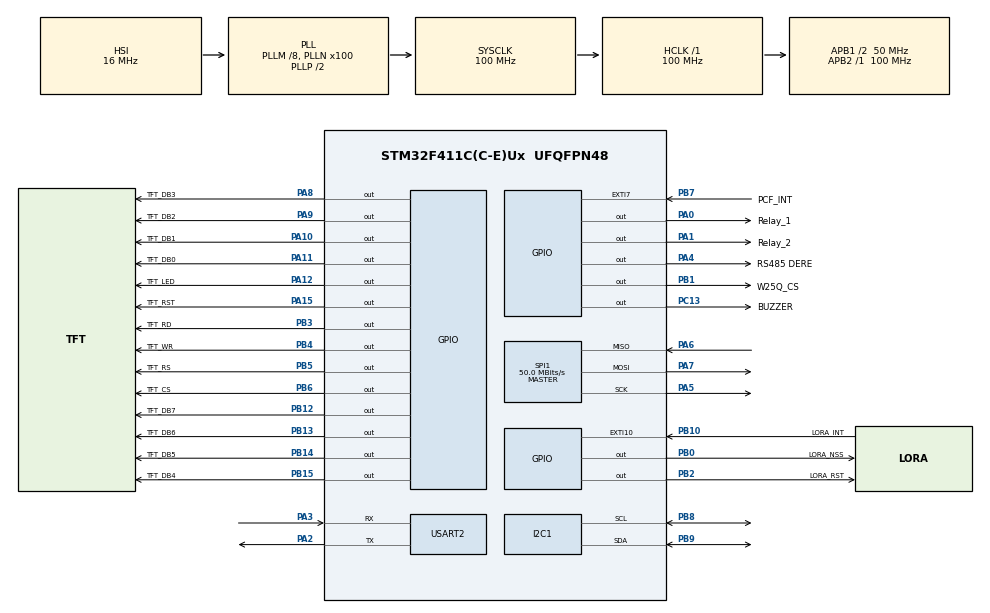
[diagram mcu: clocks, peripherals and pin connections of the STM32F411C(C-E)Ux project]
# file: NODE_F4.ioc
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FREERTOS.BinarySemaphores01=Ngat_Nhan_Tu_BP,Dynamic,NULL
FREERTOS.Tasks01=XuLy_Ban_Phim,2,128,Start_XuLy_Ban_Phim,Default,NULL,Dynamic,NULL,NULL;XuLy_Lora,2,128,Start_XuLy_Lora,Default,NULL,Dynamic,NULL,NULL;XuLy_Cap_Nhat,0,128,Start_XuLy_UPD,Default,NULL,Dynamic,NULL,NULL;XuLy_MHC,-2,128,Start_XuLy_MHC,Default,NULL,Dynamic,NULL,NULL;XuLy_MHS,-2,128,Start_XuLy_MHS,Default,NULL,Dynamic,NULL,NULL;XuLy_MHL,-2,128,Start_XuLy_MHL,Default,NULL,Dynamic,NULL,NULL
FREERTOS.configUSE_NEWLIB_REENTRANT=1
I2C1.DualAddressMode=I2C_DUALADDRESS_DISABLE
I2C1.GeneralCallMode=I2C_GENERALCALL_DISABLE
Mcu.Family=STM32F4
Mcu.Name=STM32F411C(C-E)Ux
Mcu.Package=UFQFPN48
NVIC.EXTI15_10_IRQn=true\:5\:0\:true\:false\:true\:true\:true\:true\:true
NVIC.EXTI9_5_IRQn=true\:5\:0\:true\:false\:true\:true\:true\:true\:true
NVIC.PriorityGroup=NVIC_PRIORITYGROUP_4
NVIC.TIM2_IRQn=true\:15\:0\:false\:false\:true\:false\:false\:true\:true
NVIC.TimeBase=TIM2_IRQn
NVIC.TimeBaseIP=TIM2
PA0-WKUP.GPIO_Label=Relay_1
PA0-WKUP.Signal=GPIO_Output
PA1.GPIO_Label=Relay_2
PA1.Signal=GPIO_Output
PA10.GPIO_Label=TFT_DB1
PA10.GPIO_Speed=GPIO_SPEED_FREQ_VERY_HIGH
PA10.Signal=GPIO_Output
PA11.GPIO_Label=TFT_DB0
PA11.GPIO_Speed=GPIO_SPEED_FREQ_VERY_HIGH
PA11.Signal=GPIO_Output
PA12.GPIO_Label=TFT_LED
PA12.GPIO_Speed=GPIO_SPEED_FREQ_VERY_HIGH
PA12.Signal=GPIO_Output
PA13.Mode=Serial_Wire
PA13.Signal=SYS_JTMS-SWDIO
PA14.Mode=Serial_Wire
PA14.Signal=SYS_JTCK-SWCLK
PA15.GPIO_Label=TFT_RST
PA15.GPIO_Speed=GPIO_SPEED_FREQ_VERY_HIGH
PA15.Signal=GPIO_Output
PA2.Mode=Asynchronous
PA2.Signal=USART2_TX
PA3.Mode=Asynchronous
PA3.Signal=USART2_RX
PA4.GPIO_Label=RS485 DERE
PA4.Signal=GPIO_Output
PA5.Mode=Full_Duplex_Master
PA5.Signal=SPI1_SCK
PA6.Mode=Full_Duplex_Master
PA6.Signal=SPI1_MISO
PA7.Mode=Full_Duplex_Master
PA7.Signal=SPI1_MOSI
PA8.GPIO_Label=TFT_DB3
PA8.GPIO_Speed=GPIO_SPEED_FREQ_VERY_HIGH
PA8.Signal=GPIO_Output
PA9.GPIO_Label=TFT_DB2
PA9.GPIO_Speed=GPIO_SPEED_FREQ_VERY_HIGH
PA9.Signal=GPIO_Output
PB0.GPIO_Label=LORA_NSS
PB0.Signal=GPIO_Output
PB1.GPIO_Label=W25Q_CS
PB1.Signal=GPIO_Output
PB10.GPIO_Label=LORA_INT
PB10.Signal=GPXTI10
PB12.GPIO_Label=TFT_DB7
PB12.GPIO_Speed=GPIO_SPEED_FREQ_VERY_HIGH
PB12.Signal=GPIO_Output
PB13.GPIO_Label=TFT_DB6
PB13.GPIO_Speed=GPIO_SPEED_FREQ_VERY_HIGH
PB13.Signal=GPIO_Output
PB14.GPIO_Label=TFT_DB5
PB14.GPIO_Speed=GPIO_SPEED_FREQ_VERY_HIGH
PB14.Signal=GPIO_Output
PB15.GPIO_Label=TFT_DB4
PB15.GPIO_Speed=GPIO_SPEED_FREQ_VERY_HIGH
PB15.Signal=GPIO_Output
PB2.GPIO_Label=LORA_RST
PB2.Signal=GPIO_Output
PB3.GPIO_Label=TFT_RD
PB3.GPIO_Speed=GPIO_SPEED_FREQ_VERY_HIGH
PB3.Signal=GPIO_Output
PB4.GPIO_Label=TFT_WR
PB4.GPIO_Speed=GPIO_SPEED_FREQ_VERY_HIGH
PB4.Signal=GPIO_Output
PB5.GPIO_Label=TFT_RS
PB5.GPIO_Speed=GPIO_SPEED_FREQ_VERY_HIGH
PB5.Signal=GPIO_Output
PB6.GPIO_Label=TFT_CS
PB6.GPIO_Speed=GPIO_SPEED_FREQ_VERY_HIGH
PB6.Signal=GPIO_Output
PB7.GPIO_Label=PCF_INT
PB7.GPIO_ModeDefaultEXTI=GPIO_MODE_IT_FALLING
PB7.GPIO_PuPd=GPIO_PULLUP
PB7.Signal=GPXTI7
PB8.Mode=I2C
PB8.Signal=I2C1_SCL
PB9.Mode=I2C
PB9.Signal=I2C1_SDA
PC13-ANTI_TAMP.GPIO_Label=BUZZER
PC13-ANTI_TAMP.PinState=GPIO_PIN_RESET
PC13-ANTI_TAMP.Signal=GPIO_Output
PH0\ -\ OSC_IN.Mode=HSE-External-Oscillator
PH0\ -\ OSC_IN.Signal=RCC_OSC_IN
PH1\ -\ OSC_OUT.Mode=HSE-External-Oscillator
PH1\ -\ OSC_OUT.Signal=RCC_OSC_OUT
ProjectManager.HeapSize=0x200
ProjectManager.StackSize=0x400
ProjectManager.TargetToolchain=STM32CubeIDE
RCC.48MHZClocksFreq_Value=40000000
RCC.AHBFreq_Value=100000000
RCC.APB1CLKDivider=RCC_HCLK_DIV2
RCC.APB1Freq_Value=50000000
RCC.APB1TimFreq_Value=100000000
RCC.APB2Freq_Value=100000000
RCC.APB2TimFreq_Value=100000000
RCC.CortexFreq_Value=100000000
RCC.HCLKFreq_Value=100000000
RCC.HSE_VALUE=25000000
RCC.HSI_VALUE=16000000
RCC.LSE_VALUE=32768
RCC.PLLM=8
RCC.PLLN=100
RCC.PLLQ=5
RCC.SYSCLKFreq_VALUE=100000000
RCC.SYSCLKSource=RCC_SYSCLKSOURCE_PLLCLK
RCC.VCOOutputFreq_Value=200000000
SPI1.CalculateBaudRate=50.0 MBits/s
SPI1.Direction=SPI_DIRECTION_2LINES
SPI1.Mode=SPI_MODE_MASTER
SPI1.VirtualType=VM_MASTER
TIM1.Prescaler=99
USART2.VirtualMode=VM_ASYNC
VP_FREERTOS_VS_CMSIS_V1.Mode=CMSIS_V1
VP_SYS_VS_tim2.Mode=TIM2
VP_TIM1_VS_ClockSourceINT.Mode=Internal
board=custom

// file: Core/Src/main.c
/* USER CODE BEGIN Header */
/**
  ******************************************************************************
  * @file           : main.c
  * @brief          : Main program body
  ******************************************************************************
  * @attention
  *
  * Copyright (c) 2023 STMicroelectronics.
  * All rights reserved.
  *
  * This software is licensed under terms that can be found in the LICENSE file
  * in the root directory of this software component.
  * If no LICENSE file comes with this software, it is provided AS-IS.
  *
  ******************************************************************************
  */
/* USER CODE END Header */
#include "main.h"
#include "cmsis_os.h"

/* USER CODE BEGIN Includes */
#include "TFT.h"
#include "DS3231.h"
#include "../../lvgl/lvgl.h"
#include "../../lvgl/examples/lv_examples.h"
#include "lcd_lvgl.h"
/* USER CODE END Includes */

I2C_HandleTypeDef hi2c1;

SPI_HandleTypeDef hspi1;

TIM_HandleTypeDef htim1;

UART_HandleTypeDef huart2;

osThreadId XuLy_Ban_PhimHandle;
osThreadId XuLy_LoraHandle;
osThreadId XuLy_Cap_NhatHandle;
osThreadId XuLy_MHCHandle;
osThreadId XuLy_MHSHandle;
osThreadId XuLy_MHLHandle;
osSemaphoreId Ngat_Nhan_Tu_BPHandle;

void SystemClock_Config(void);
static void MX_GPIO_Init(void);
static void MX_I2C1_Init(void);
static void MX_SPI1_Init(void);
static void MX_USART2_UART_Init(void);
static void MX_TIM1_Init(void);
void Start_XuLy_Ban_Phim(void const * argument);
void Start_XuLy_Lora(void const * argument);
void Start_XuLy_UPD(void const * argument);
void Start_XuLy_MHC(void const * argument);
void Start_XuLy_MHS(void const * argument);
void Start_XuLy_MHL(void const * argument);

/* USER CODE BEGIN 0 */
void delay_us (uint32_t time)
{
	__HAL_TIM_SET_COUNTER(&htim1, 0);
	while ((__HAL_TIM_GET_COUNTER(&htim1))<time);
}
void delay_ms(uint32_t time)
{
	for(int i = 0;i<1000;i++)
		delay_us(time);
}
void HAL_GPIO_EXTI_Callback(uint16_t GPIO_Pin)
{
	if(GPIO_Pin == PCF_INT_Pin)
	{
		delay_us(10);
		if(HAL_GPIO_ReadPin(PCF_INT_GPIO_Port, PCF_INT_Pin) == 0)
		{
			osSemaphoreRelease(Ngat_Nhan_Tu_BPHandle);
		}
		delay_us(10);
	}
}
rtc_t time = {
		  .DayOfWeek = THURSDAY,
		  .Date 	 = 23,
		  .Month	 = 3,
		  .Hour		 = 17,
		  .Min	 	 = 10,
		  .Sec		 = 00,
		  .Year		 = 02,
		  .hi2c		 = &hi2c1
};
uint16_t ID = 0;
volatile uint8_t _lastkey;
bool _keypressed = false;
volatile bool _man_hinh_chinh 	= false;
volatile bool _man_hinh_setting	= false;
volatile bool _man_hinh_login	= false;
/* USER CODE END 0 */

int main(void)
{

  /* MCU Configuration--------------------------------------------------------*/

  /* Reset of all peripherals, Initializes the Flash interface and the Systick. */
  HAL_Init();

  /* Configure the system clock */
  SystemClock_Config();

  /* Initialize all configured peripherals */
  MX_GPIO_Init();
  MX_I2C1_Init();
  MX_SPI1_Init();
  MX_USART2_UART_Init();
  MX_TIM1_Init();
  /* USER CODE BEGIN 2 */
  HAL_GPIO_WritePin(TFT_LED_GPIO_Port, TFT_LED_Pin, 1);
  HAL_TIM_Base_Start(&htim1);
  lv_init();
  Display_init(3);
  HAL_Delay(500);
  lv_example_anim_2();
//  ID = readID();
//  HAL_Delay(100);
//  ds3231_setTime(&time);
//  tft_init(ID);
//  setRotation(3);
//  testFillScreen();
//  testLines(CYAN);
//  testFastLines(RED, BLUE);
//  testFilledCircles(10, MAGENTA);
//  testCircles(10, WHITE);
//  fillScreen(BLACK);
  _man_hinh_chinh = true; // Bật màn hình chính lúc đầu
  /* USER CODE END 2 */

  /* Create the semaphores(s) */
  /* definition and creation of Ngat_Nhan_Tu_BP */
  osSemaphoreDef(Ngat_Nhan_Tu_BP);
  Ngat_Nhan_Tu_BPHandle = osSemaphoreCreate(osSemaphore(Ngat_Nhan_Tu_BP), 1);

  /* Create the thread(s) */
  /* definition and creation of XuLy_Ban_Phim */
  osThreadDef(XuLy_Ban_Phim, Start_XuLy_Ban_Phim, osPriorityHigh, 0, 128);
  XuLy_Ban_PhimHandle = osThreadCreate(osThread(XuLy_Ban_Phim), NULL);

  /* definition and creation of XuLy_Lora */
  osThreadDef(XuLy_Lora, Start_XuLy_Lora, osPriorityHigh, 0, 128);
  XuLy_LoraHandle = osThreadCreate(osThread(XuLy_Lora), NULL);

  /* definition and creation of XuLy_Cap_Nhat */
  osThreadDef(XuLy_Cap_Nhat, Start_XuLy_UPD, osPriorityNormal, 0, 128);
  XuLy_Cap_NhatHandle = osThreadCreate(osThread(XuLy_Cap_Nhat), NULL);

  /* definition and creation of XuLy_MHC */
  osThreadDef(XuLy_MHC, Start_XuLy_MHC, osPriorityLow, 0, 128);
  XuLy_MHCHandle = osThreadCreate(osThread(XuLy_MHC), NULL);

  /* definition and creation of XuLy_MHS */
  osThreadDef(XuLy_MHS, Start_XuLy_MHS, osPriorityLow, 0, 128);
  XuLy_MHSHandle = osThreadCreate(osThread(XuLy_MHS), NULL);

  /* definition and creation of XuLy_MHL */
  osThreadDef(XuLy_MHL, Start_XuLy_MHL, osPriorityLow, 0, 128);
  XuLy_MHLHandle = osThreadCreate(osThread(XuLy_MHL), NULL);

  /* Start scheduler */
  osKernelStart();

  /* We should never get here as control is now taken by the scheduler */
  /* Infinite loop */
  while (1)
  {

  }
}

void SystemClock_Config(void)
{
  RCC_OscInitTypeDef RCC_OscInitStruct = {0};
  RCC_ClkInitTypeDef RCC_ClkInitStruct = {0};

  /** Configure the main internal regulator output voltage
  */
  __HAL_RCC_PWR_CLK_ENABLE();
  __HAL_PWR_VOLTAGESCALING_CONFIG(PWR_REGULATOR_VOLTAGE_SCALE1);

  /** Initializes the RCC Oscillators according to the specified parameters
  * in the RCC_OscInitTypeDef structure.
  */
  RCC_OscInitStruct.OscillatorType = RCC_OSCILLATORTYPE_HSI;
  RCC_OscInitStruct.HSIState = RCC_HSI_ON;
  RCC_OscInitStruct.HSICalibrationValue = RCC_HSICALIBRATION_DEFAULT;
  RCC_OscInitStruct.PLL.PLLState = RCC_PLL_ON;
  RCC_OscInitStruct.PLL.PLLSource = RCC_PLLSOURCE_HSI;
  RCC_OscInitStruct.PLL.PLLM = 8;
  RCC_OscInitStruct.PLL.PLLN = 100;
  RCC_OscInitStruct.PLL.PLLP = RCC_PLLP_DIV2;
  RCC_OscInitStruct.PLL.PLLQ = 5;
  if (HAL_RCC_OscConfig(&RCC_OscInitStruct) != HAL_OK)
  {
    Error_Handler();
  }

  /** Initializes the CPU, AHB and APB buses clocks
  */
  RCC_ClkInitStruct.ClockType = RCC_CLOCKTYPE_HCLK|RCC_CLOCKTYPE_SYSCLK
                              |RCC_CLOCKTYPE_PCLK1|RCC_CLOCKTYPE_PCLK2;
  RCC_ClkInitStruct.SYSCLKSource = RCC_SYSCLKSOURCE_PLLCLK;
  RCC_ClkInitStruct.AHBCLKDivider = RCC_SYSCLK_DIV1;
  RCC_ClkInitStruct.APB1CLKDivider = RCC_HCLK_DIV2;
  RCC_ClkInitStruct.APB2CLKDivider = RCC_HCLK_DIV1;

  if (HAL_RCC_ClockConfig(&RCC_ClkInitStruct, FLASH_LATENCY_3) != HAL_OK)
  {
    Error_Handler();
  }
}

static void MX_I2C1_Init(void)
{

  hi2c1.Instance = I2C1;
  hi2c1.Init.ClockSpeed = 100000;
  hi2c1.Init.DutyCycle = I2C_DUTYCYCLE_2;
  hi2c1.Init.OwnAddress1 = 0;
  hi2c1.Init.AddressingMode = I2C_ADDRESSINGMODE_7BIT;
  hi2c1.Init.DualAddressMode = I2C_DUALADDRESS_DISABLE;
  hi2c1.Init.OwnAddress2 = 0;
  hi2c1.Init.GeneralCallMode = I2C_GENERALCALL_DISABLE;
  hi2c1.Init.NoStretchMode = I2C_NOSTRETCH_DISABLE;
  if (HAL_I2C_Init(&hi2c1) != HAL_OK)
  {
    Error_Handler();
  }

}

static void MX_SPI1_Init(void)
{

  /* SPI1 parameter configuration*/
  hspi1.Instance = SPI1;
  hspi1.Init.Mode = SPI_MODE_MASTER;
  hspi1.Init.Direction = SPI_DIRECTION_2LINES;
  hspi1.Init.DataSize = SPI_DATASIZE_8BIT;
  hspi1.Init.CLKPolarity = SPI_POLARITY_LOW;
  hspi1.Init.CLKPhase = SPI_PHASE_1EDGE;
  hspi1.Init.NSS = SPI_NSS_SOFT;
  hspi1.Init.BaudRatePrescaler = SPI_BAUDRATEPRESCALER_2;
  hspi1.Init.FirstBit = SPI_FIRSTBIT_MSB;
  hspi1.Init.TIMode = SPI_TIMODE_DISABLE;
  hspi1.Init.CRCCalculation = SPI_CRCCALCULATION_DISABLE;
  hspi1.Init.CRCPolynomial = 10;
  if (HAL_SPI_Init(&hspi1) != HAL_OK)
  {
    Error_Handler();
  }

}

static void MX_TIM1_Init(void)
{

  TIM_ClockConfigTypeDef sClockSourceConfig = {0};
  TIM_MasterConfigTypeDef sMasterConfig = {0};

  htim1.Instance = TIM1;
  htim1.Init.Prescaler = 99;
  htim1.Init.CounterMode = TIM_COUNTERMODE_UP;
  htim1.Init.Period = 65535;
  htim1.Init.ClockDivision = TIM_CLOCKDIVISION_DIV1;
  htim1.Init.RepetitionCounter = 0;
  htim1.Init.AutoReloadPreload = TIM_AUTORELOAD_PRELOAD_DISABLE;
  if (HAL_TIM_Base_Init(&htim1) != HAL_OK)
  {
    Error_Handler();
  }
  sClockSourceConfig.ClockSource = TIM_CLOCKSOURCE_INTERNAL;
  if (HAL_TIM_ConfigClockSource(&htim1, &sClockSourceConfig) != HAL_OK)
  {
    Error_Handler();
  }
  sMasterConfig.MasterOutputTrigger = TIM_TRGO_RESET;
  sMasterConfig.MasterSlaveMode = TIM_MASTERSLAVEMODE_DISABLE;
  if (HAL_TIMEx_MasterConfigSynchronization(&htim1, &sMasterConfig) != HAL_OK)
  {
    Error_Handler();
  }

}

static void MX_USART2_UART_Init(void)
{

  huart2.Instance = USART2;
  huart2.Init.BaudRate = 115200;
  huart2.Init.WordLength = UART_WORDLENGTH_8B;
  huart2.Init.StopBits = UART_STOPBITS_1;
  huart2.Init.Parity = UART_PARITY_NONE;
  huart2.Init.Mode = UART_MODE_TX_RX;
  huart2.Init.HwFlowCtl = UART_HWCONTROL_NONE;
  huart2.Init.OverSampling = UART_OVERSAMPLING_16;
  if (HAL_UART_Init(&huart2) != HAL_OK)
  {
    Error_Handler();
  }

}

static void MX_GPIO_Init(void)
{
  GPIO_InitTypeDef GPIO_InitStruct = {0};

  /* GPIO Ports Clock Enable */
  __HAL_RCC_GPIOC_CLK_ENABLE();
  __HAL_RCC_GPIOH_CLK_ENABLE();
  __HAL_RCC_GPIOA_CLK_ENABLE();
  __HAL_RCC_GPIOB_CLK_ENABLE();

  /*Configure GPIO pin Output Level */
  HAL_GPIO_WritePin(BUZZER_GPIO_Port, BUZZER_Pin, GPIO_PIN_RESET);

  /*Configure GPIO pin Output Level */
  HAL_GPIO_WritePin(GPIOA, Relay_1_Pin|Relay_2_Pin|RS485_DERE_Pin|TFT_DB3_Pin
                          |TFT_DB2_Pin|TFT_DB1_Pin|TFT_DB0_Pin|TFT_LED_Pin
                          |TFT_RST_Pin, GPIO_PIN_RESET);

  /*Configure GPIO pin Output Level */
  HAL_GPIO_WritePin(GPIOB, LORA_NSS_Pin|W25Q_CS_Pin|LORA_RST_Pin|TFT_DB7_Pin
                          |TFT_DB6_Pin|TFT_DB5_Pin|TFT_DB4_Pin|TFT_RD_Pin
                          |TFT_WR_Pin|TFT_RS_Pin|TFT_CS_Pin, GPIO_PIN_RESET);

  /*Configure GPIO pin : BUZZER_Pin */
  GPIO_InitStruct.Pin = BUZZER_Pin;
  GPIO_InitStruct.Mode = GPIO_MODE_OUTPUT_PP;
  GPIO_InitStruct.Pull = GPIO_NOPULL;
  GPIO_InitStruct.Speed = GPIO_SPEED_FREQ_LOW;
  HAL_GPIO_Init(BUZZER_GPIO_Port, &GPIO_InitStruct);

  /*Configure GPIO pins : Relay_1_Pin Relay_2_Pin RS485_DERE_Pin TFT_DB3_Pin
                           TFT_DB2_Pin TFT_DB1_Pin TFT_DB0_Pin TFT_LED_Pin
                           TFT_RST_Pin */
  GPIO_InitStruct.Pin = Relay_1_Pin|Relay_2_Pin|RS485_DERE_Pin|TFT_DB3_Pin
                          |TFT_DB2_Pin|TFT_DB1_Pin|TFT_DB0_Pin|TFT_LED_Pin
                          |TFT_RST_Pin;
  GPIO_InitStruct.Mode = GPIO_MODE_OUTPUT_PP;
  GPIO_InitStruct.Pull = GPIO_NOPULL;
  GPIO_InitStruct.Speed = GPIO_SPEED_FREQ_LOW;
  HAL_GPIO_Init(GPIOA, &GPIO_InitStruct);

  /*Configure GPIO pins : LORA_NSS_Pin W25Q_CS_Pin LORA_RST_Pin TFT_DB7_Pin
                           TFT_DB6_Pin TFT_DB5_Pin TFT_DB4_Pin TFT_RD_Pin
                           TFT_WR_Pin TFT_RS_Pin TFT_CS_Pin */
  GPIO_InitStruct.Pin = LORA_NSS_Pin|W25Q_CS_Pin|LORA_RST_Pin|TFT_DB7_Pin
                          |TFT_DB6_Pin|TFT_DB5_Pin|TFT_DB4_Pin|TFT_RD_Pin
                          |TFT_WR_Pin|TFT_RS_Pin|TFT_CS_Pin;
  GPIO_InitStruct.Mode = GPIO_MODE_OUTPUT_PP;
  GPIO_InitStruct.Pull = GPIO_NOPULL;
  GPIO_InitStruct.Speed = GPIO_SPEED_FREQ_LOW;
  HAL_GPIO_Init(GPIOB, &GPIO_InitStruct);

  /*Configure GPIO pin : LORA_INT_Pin */
  GPIO_InitStruct.Pin = LORA_INT_Pin;
  GPIO_InitStruct.Mode = GPIO_MODE_IT_RISING;
  GPIO_InitStruct.Pull = GPIO_NOPULL;
  HAL_GPIO_Init(LORA_INT_GPIO_Port, &GPIO_InitStruct);

  /*Configure GPIO pin : PCF_INT_Pin */
  GPIO_InitStruct.Pin = PCF_INT_Pin;
  GPIO_InitStruct.Mode = GPIO_MODE_IT_FALLING;
  GPIO_InitStruct.Pull = GPIO_PULLUP;
  HAL_GPIO_Init(PCF_INT_GPIO_Port, &GPIO_InitStruct);

  /* EXTI interrupt init*/
  HAL_NVIC_SetPriority(EXTI9_5_IRQn, 5, 0);
  HAL_NVIC_EnableIRQ(EXTI9_5_IRQn);

  HAL_NVIC_SetPriority(EXTI15_10_IRQn, 5, 0);
  HAL_NVIC_EnableIRQ(EXTI15_10_IRQn);

}

void Start_XuLy_Ban_Phim(void const * argument)
{
  /* USER CODE BEGIN 5 */
  /* Infinite loop */
  for(;;)
  {
	  osSemaphoreWait(Ngat_Nhan_Tu_BPHandle, osWaitForever);
	  _lastkey = getkey(&hi2c1);
	  if(_lastkey != 17)
	  {
		  if(_man_hinh_chinh == true)
		  	  {
		  		  if (_lastkey == 3)
		  		  {
		  			  _man_hinh_login = true;
		  			  _man_hinh_chinh = false;
		  		  }
		  		  else if (_lastkey == 7)
		  		  {
		  			  _man_hinh_setting = true;
		  			  _man_hinh_chinh = false;
		  		  }
		  	  }
		  	  else if(_man_hinh_setting == true)
		  	  {
		  		  if(_lastkey == 11)
		  		  {
		  			  _man_hinh_chinh = true;
		  			  _man_hinh_setting = false;

		  		  }
		  	  }
		  	  else if(_man_hinh_login == true)
		  	  {

		  		  if(_lastkey == 11)
		  		  {
		  			  _man_hinh_chinh = true;
		  			  _man_hinh_login = false;

		  		  }
		  	  }
	  }
	  else
	  {
		  fillScreen(BLACK);
		  _keypressed = true;
	  }
  }
  /* USER CODE END 5 */
}

void Start_XuLy_Lora(void const * argument)
{
  for(;;)
  {
    osDelay(1);
  }
}

void Start_XuLy_UPD(void const * argument)
{
  for(;;)
  {
    osDelay(1);
  }
}

void Start_XuLy_MHC(void const * argument)
{
  /* USER CODE BEGIN Start_XuLy_MHC */
  /* Infinite loop */
  for(;;)
  {
	  if(_man_hinh_chinh ==  true && _man_hinh_login == false && _man_hinh_setting == false && _keypressed == true)
	  {
		  _keypressed == false;

	  }
    osDelay(1);
  }
  /* USER CODE END Start_XuLy_MHC */
}

void Start_XuLy_MHS(void const * argument)
{
  /* USER CODE BEGIN Start_XuLy_MHS */
  /* Infinite loop */
  for(;;)
  {
	  if(_man_hinh_setting ==  true && _man_hinh_chinh ==  false && _man_hinh_login ==  false && _keypressed == true)
	  {
		  _keypressed == false;
	  }
    osDelay(1);
  }
  /* USER CODE END Start_XuLy_MHS */
}

void Start_XuLy_MHL(void const * argument)
{
  /* USER CODE BEGIN Start_XuLy_MHL */
  /* Infinite loop */
  for(;;)
  {
	  if(_man_hinh_login == true && _man_hinh_chinh ==  false && _man_hinh_setting == false && _keypressed == true)
	  {
		  _keypressed == false;
	  }
    osDelay(1);
  }
  /* USER CODE END Start_XuLy_MHL */
}

void HAL_TIM_PeriodElapsedCallback(TIM_HandleTypeDef *htim)
{
  /* USER CODE BEGIN Callback 0 */
	lv_tick_inc(1);
	osSystickHandler();
  /* USER CODE END Callback 0 */
  if (htim->Instance == TIM2) {
    HAL_IncTick();
  }
}
void Error_Handler(void)
{
  __disable_irq();
  while (1)
  {
  }
}
